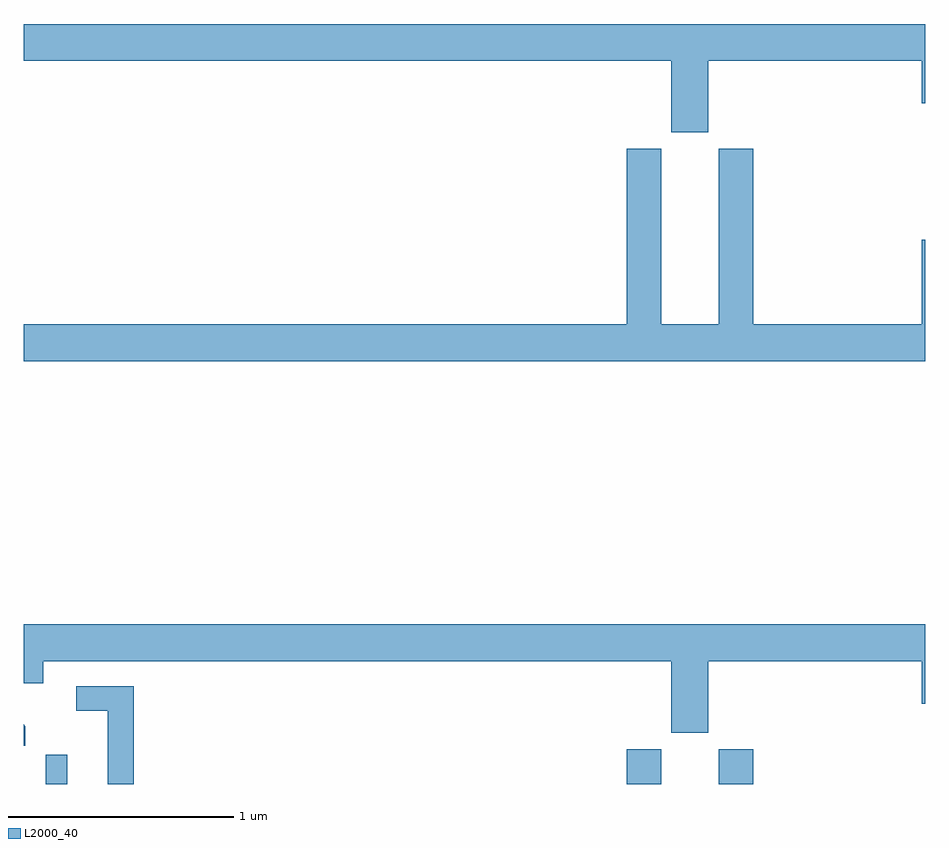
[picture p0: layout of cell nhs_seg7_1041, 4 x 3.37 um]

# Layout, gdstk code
import gdstk
lib = gdstk.Library(unit=1e-6, precision=1e-09)
def R(c, l, rs):  # rectangles x0, y0, x1, y1
    for r in rs: c.add(gdstk.rectangle(r[:2], r[2:], *l))
def P(c, l, *ps):  # polygons
    for p in ps: c.add(gdstk.Polygon(p, *l))
L2000_40 = (2000, 40)

nhs_seg7_1041 = lib.new_cell('nhs_seg7_1041')
R(nhs_seg7_1041, L2000_40, [(185.097,1072,185.193,1072.129), (187.676,1072,187.828,1072.155), (188.084,1072,188.237,1072.155)])
P(nhs_seg7_1041, L2000_40, [(188.038,1075.208),(188.984,1075.208),(188.984,1075.02),(189,1075.02),(189,1075.372),(185,1075.372),(185,1075.208),(187.874,1075.208),(187.874,1074.891),(188.038,1074.891)],
  [(189,1074.415),(188.984,1074.415),(188.984,1074.04),(188.237,1074.04),(188.237,1074.819),(188.084,1074.819),(188.084,1074.04),(187.828,1074.04),(187.828,1074.819),(187.676,1074.819),(187.676,1074.04),(185,1074.04),(185,1073.876),(189,1073.876)],
  [(188.038,1072.544),(188.984,1072.544),(188.984,1072.356),(189,1072.356),(189,1072.708),(185,1072.708),(185,1072.446),(185.086,1072.446),(185.086,1072.544),(187.874,1072.544),(187.874,1072.227),(188.038,1072.227)],
  [(185.489,1072.434),(185.232,1072.434),(185.232,1072.326),(185.372,1072.326),(185.372,1072),(185.489,1072)],
  [(185.007,1072.257),(185,1072.264),(185,1072.169),(185.007,1072.169)])

lib.write_gds('nhs_seg7_1041.gds')
